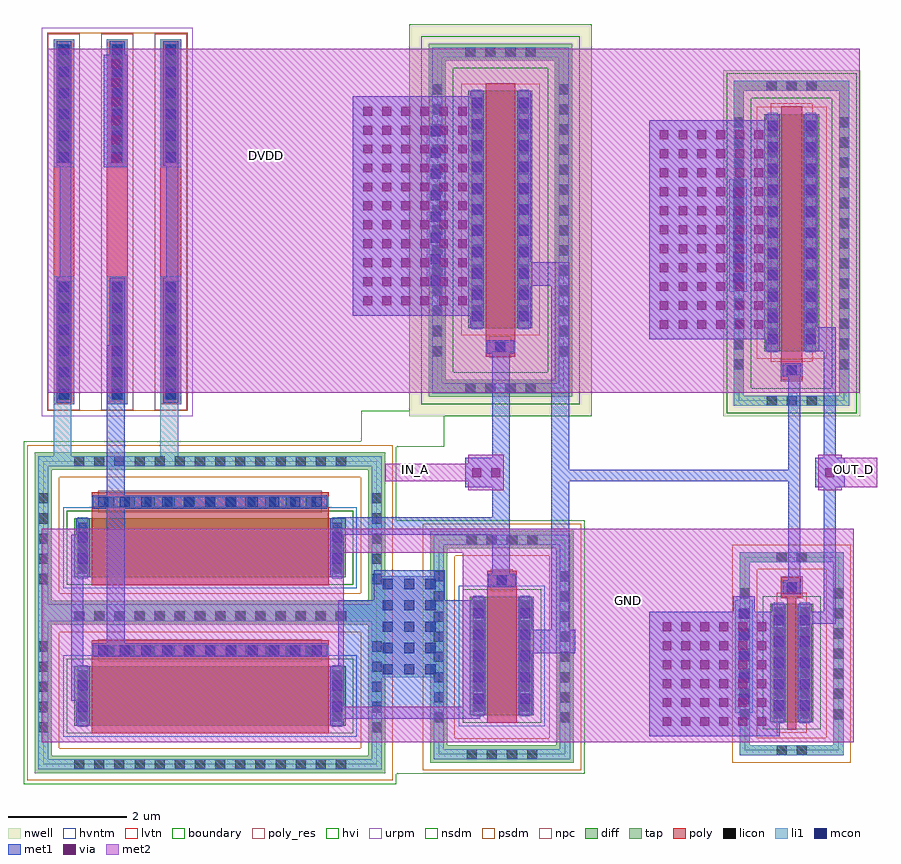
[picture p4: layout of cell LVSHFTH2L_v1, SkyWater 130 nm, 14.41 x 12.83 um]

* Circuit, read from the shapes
.subckt LVSHFTH2L_v1 DVDD GND IN_A OUT_D
XM1 GND n1 n2 GND sky130_fd_pr__nfet_g5v0d10v5 w=1 l=4
XM2 IN_A n1 n2 GND sky130_fd_pr__nfet_g5v0d10v5 w=1 l=4
XM3 n3 IN_A GND GND sky130_fd_pr__nfet_g5v0d10v5 w=2 l=0.5
XM4 OUT_D n3 GND GND sky130_fd_pr__nfet_01v8_lvt w=2 l=0.15
XM5 n3 IN_A DVDD DVDD sky130_fd_pr__pfet_g5v0d10v5 w=4 l=0.5
XM6 OUT_D n3 DVDD DVDD sky130_fd_pr__pfet_01v8_lvt w=4 l=0.35
XR7 GND GND GND sky130_fd_pr__res_xhigh_po w=0.35 l=1.88 m=2
XR8 DVDD n1 GND sky130_fd_pr__res_xhigh_po w=0.35 l=1.88
.ends

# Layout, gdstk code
import gdstk
lib = gdstk.Library(unit=1e-6, precision=1e-09)
def R(c, l, rs):  # rectangles x0, y0, x1, y1
    for r in rs: c.add(gdstk.rectangle(r[:2], r[2:], *l))
def A(c, l, x, y, w, h, nx, ny, dx, dy):  # array of equal rectangles
    R(c, l, [(x+i*dx, y+j*dy, x+i*dx+w, y+j*dy+h) for i in range(nx) for j in range(ny)])
nwell = (64, 20)
diff = (65, 20)
tap = (65, 44)
poly_res = (66, 13)
poly = (66, 20)
licon = (66, 44)
li1 = (67, 20)
mcon = (67, 44)
met1 = (68, 20)
via = (68, 44)
met2 = (69, 20)
hvi = (75, 20)
urpm = (79, 20)
nsdm = (93, 44)
psdm = (94, 20)
npc = (95, 20)
hvntm = (125, 20)
lvtn = (125, 44)
boundary = (235, 4)

sky130_fd_pr__res_xhigh_ = lib.new_cell('sky130_fd_pr__res_xhigh_po_0p35_Q2SH44')
R(sky130_fd_pr__res_xhigh_, poly_res, [(-0.175,-1,0.175,1)])
R(sky130_fd_pr__res_xhigh_, poly, [(-0.175,-3.08,0.175,3.08)])
R(sky130_fd_pr__res_xhigh_, licon, [(-0.095,-3,0.095,-1), (-0.095,1,0.095,3)])
R(sky130_fd_pr__res_xhigh_, li1, [(-0.175,-3.08,0.175,-0.92), (-0.175,0.92,0.175,3.08)])
A(sky130_fd_pr__res_xhigh_, mcon, -0.085, -2.985, 0.17, 0.17, 1, 6, 0, 0.36)
A(sky130_fd_pr__res_xhigh_, mcon, -0.085, 1.01, 0.17, 0.17, 1, 6, 0, 0.36)
R(sky130_fd_pr__res_xhigh_, met1, [(-0.125,-3.05,0.125,-0.945), (-0.125,0.945,0.125,3.05)])
R(sky130_fd_pr__res_xhigh_, urpm, [(-0.375,-3.28,0.375,3.28)])
R(sky130_fd_pr__res_xhigh_, psdm, [(-0.285,-3.19,0.285,3.19)])
R(sky130_fd_pr__res_xhigh_, npc, [(-0.27,-3.175,0.27,3.175)])

sky130_fd_pr__pfet_01v8_ = lib.new_cell('sky130_fd_pr__pfet_01v8_lvt_73FHB3')
R(sky130_fd_pr__pfet_01v8_, nwell, [(-1.155,-2.92,1.155,2.92)])
R(sky130_fd_pr__pfet_01v8_, diff, [(-0.465,-1.82,0.465,2.18)])
R(sky130_fd_pr__pfet_01v8_, tap, [(-0.975,-2.74,0.975,-2.57), (-0.975,-2.57,-0.805,2.57), (0.805,-2.57,0.975,2.57), (-0.975,2.57,0.975,2.74)])
R(sky130_fd_pr__pfet_01v8_, poly, [(-0.175,-2.305,0.175,2.31)])
A(sky130_fd_pr__pfet_01v8_, licon, -0.425, -2.74, 0.17, 0.17, 3, 2, 0.34, 5.31)
A(sky130_fd_pr__pfet_01v8_, licon, -0.975, -2.125, 0.17, 0.17, 1, 13, 0, 0.34)
A(sky130_fd_pr__pfet_01v8_, licon, 0.805, -2.125, 0.17, 0.17, 1, 13, 0, 0.34)
A(sky130_fd_pr__pfet_01v8_, licon, -0.405, -1.605, 0.17, 0.17, 1, 11, 0, 0.34)
A(sky130_fd_pr__pfet_01v8_, licon, 0.235, -1.605, 0.17, 0.17, 1, 11, 0, 0.34)
R(sky130_fd_pr__pfet_01v8_, licon, [(-0.085,-2.225,0.085,-2.055)])
R(sky130_fd_pr__pfet_01v8_, li1, [(-0.975,-2.74,0.975,-2.57), (-0.975,-2.57,-0.805,2.57), (0.805,-2.57,0.975,2.57), (-0.175,-2.225,0.175,-2.055), (-0.405,-1.84,-0.235,2.2), (0.235,-1.84,0.405,2.2), (-0.975,2.57,0.975,2.74)])
A(sky130_fd_pr__pfet_01v8_, mcon, -0.405, -1.705, 0.17, 0.17, 1, 11, 0, 0.36)
A(sky130_fd_pr__pfet_01v8_, mcon, 0.235, -1.705, 0.17, 0.17, 1, 11, 0, 0.36)
R(sky130_fd_pr__pfet_01v8_, mcon, [(-0.085,-2.225,0.085,-2.055)])
R(sky130_fd_pr__pfet_01v8_, met1, [(-0.155,-2.255,0.155,-2.025), (-0.435,-1.82,-0.205,2.18), (0.205,-1.82,0.435,2.18)])
R(sky130_fd_pr__pfet_01v8_, nsdm, [(-1.1,-2.865,1.1,-2.445), (-1.1,-2.445,-0.68,2.445), (0.68,-2.445,1.1,2.445), (-1.1,2.445,1.1,2.865)])
R(sky130_fd_pr__pfet_01v8_, psdm, [(-0.59,-1.945,0.59,2.305)])
R(sky130_fd_pr__pfet_01v8_, npc, [(-0.185,-2.325,0.185,-1.955)])
R(sky130_fd_pr__pfet_01v8_, lvtn, [(-0.355,-2,0.355,2.36)])
R(sky130_fd_pr__pfet_01v8_, boundary, [(-0.89,-2.655,0.89,2.655)])

sky130_fd_pr__pfet_g5v0d = lib.new_cell('sky130_fd_pr__pfet_g5v0d10v5_U678Y6')
R(sky130_fd_pr__pfet_g5v0d, nwell, [(-1.54,-3.31,1.54,3.31)])
R(sky130_fd_pr__pfet_g5v0d, diff, [(-0.54,-1.82,0.54,2.18)])
R(sky130_fd_pr__pfet_g5v0d, tap, [(-1.21,-2.98,1.21,-2.69), (-1.21,-2.69,-0.92,2.69), (0.92,-2.69,1.21,2.69), (-1.21,2.69,1.21,2.98)])
R(sky130_fd_pr__pfet_g5v0d, poly, [(-0.25,-2.305,0.25,2.31)])
A(sky130_fd_pr__pfet_g5v0d, licon, -0.595, -2.92, 0.17, 0.17, 4, 2, 0.34, 5.67)
A(sky130_fd_pr__pfet_g5v0d, licon, -1.15, -2.295, 0.17, 0.17, 1, 14, 0, 0.34)
A(sky130_fd_pr__pfet_g5v0d, licon, 0.98, -2.295, 0.17, 0.17, 1, 14, 0, 0.34)
A(sky130_fd_pr__pfet_g5v0d, licon, -0.48, -1.605, 0.17, 0.17, 1, 11, 0, 0.34)
A(sky130_fd_pr__pfet_g5v0d, licon, 0.31, -1.605, 0.17, 0.17, 1, 11, 0, 0.34)
R(sky130_fd_pr__pfet_g5v0d, licon, [(-0.085,-2.225,0.085,-2.055)])
R(sky130_fd_pr__pfet_g5v0d, li1, [(-1.15,-2.92,1.15,-2.75), (-1.15,-2.75,-0.98,2.75), (0.98,-2.75,1.15,2.75), (-0.25,-2.225,0.25,-2.055), (-0.48,-1.84,-0.31,2.2), (0.31,-1.84,0.48,2.2), (-1.15,2.75,1.15,2.92)])
A(sky130_fd_pr__pfet_g5v0d, mcon, -0.48, -1.705, 0.17, 0.17, 1, 11, 0, 0.36)
A(sky130_fd_pr__pfet_g5v0d, mcon, 0.31, -1.705, 0.17, 0.17, 1, 11, 0, 0.36)
R(sky130_fd_pr__pfet_g5v0d, mcon, [(-0.085,-2.225,0.085,-2.055)])
R(sky130_fd_pr__pfet_g5v0d, met1, [(-0.23,-2.255,0.23,-2.025), (-0.51,-1.82,-0.28,2.18), (0.28,-1.82,0.51,2.18)])
R(sky130_fd_pr__pfet_g5v0d, hvi, [(-1.54,-3.31,1.54,3.31)])
R(sky130_fd_pr__pfet_g5v0d, nsdm, [(-1.335,-3.105,1.335,-2.565), (-1.335,-2.565,-0.795,2.565), (0.795,-2.565,1.335,2.565), (-1.335,2.565,1.335,3.105)])
R(sky130_fd_pr__pfet_g5v0d, psdm, [(-0.665,-1.945,0.665,2.305)])
R(sky130_fd_pr__pfet_g5v0d, npc, [(-0.185,-2.325,0.185,-1.955)])
R(sky130_fd_pr__pfet_g5v0d, boundary, [(-1.065,-2.835,1.065,2.835)])

sky130_fd_pr__nfet_g5v0d = lib.new_cell('sky130_fd_pr__nfet_g5v0d10v5_698YSN')
R(sky130_fd_pr__nfet_g5v0d, diff, [(-2.29,-0.655,2.29,0.345)])
R(sky130_fd_pr__nfet_g5v0d, tap, [(-2.96,-1.455,2.96,-1.165), (-2.96,-1.165,-2.67,1.165), (2.67,-1.165,2.96,1.165), (-2.96,1.165,2.96,1.455)])
R(sky130_fd_pr__nfet_g5v0d, poly, [(-2,-0.785,2,0.785)])
A(sky130_fd_pr__nfet_g5v0d, licon, -2.295, -1.395, 0.17, 0.17, 14, 2, 0.34, 2.62)
A(sky130_fd_pr__nfet_g5v0d, licon, -2.9, -0.765, 0.17, 0.17, 1, 5, 0, 0.34)
A(sky130_fd_pr__nfet_g5v0d, licon, 2.73, -0.765, 0.17, 0.17, 1, 5, 0, 0.34)
A(sky130_fd_pr__nfet_g5v0d, licon, -2.23, -0.58, 0.17, 0.17, 1, 3, 0, 0.34)
A(sky130_fd_pr__nfet_g5v0d, licon, 2.06, -0.58, 0.17, 0.17, 1, 3, 0, 0.34)
A(sky130_fd_pr__nfet_g5v0d, licon, -1.785, 0.535, 0.17, 0.17, 11, 1, 0.34, 0)
R(sky130_fd_pr__nfet_g5v0d, li1, [(-2.9,-1.395,2.9,-1.225), (-2.9,-1.225,-2.73,1.225), (2.73,-1.225,2.9,1.225), (-2.23,-0.675,-2.06,0.365), (2.06,-0.675,2.23,0.365), (-2,0.535,2,0.705), (-2.9,1.225,2.9,1.395)])
A(sky130_fd_pr__nfet_g5v0d, mcon, -1.885, 0.535, 0.17, 0.17, 11, 1, 0.36, 0)
R(sky130_fd_pr__nfet_g5v0d, mcon, [(-2.23,-0.42,-2.06,-0.25), (2.06,-0.42,2.23,-0.25), (-2.23,-0.06,-2.06,0.11), (2.06,-0.06,2.23,0.11)])
R(sky130_fd_pr__nfet_g5v0d, met1, [(-2.26,-0.655,-2.03,0.345), (2.03,-0.655,2.26,0.345), (-1.98,0.505,1.98,0.735)])
R(sky130_fd_pr__nfet_g5v0d, hvi, [(-3.145,-1.64,3.145,1.64)])
R(sky130_fd_pr__nfet_g5v0d, nsdm, [(-2.415,-0.78,2.415,0.47)])
R(sky130_fd_pr__nfet_g5v0d, psdm, [(-3.085,-1.58,3.085,-1.04), (-3.085,-1.04,-2.545,1.04), (2.545,-1.04,3.085,1.04), (-3.085,1.04,3.085,1.58)])
R(sky130_fd_pr__nfet_g5v0d, npc, [(-1.885,0.435,1.885,0.805)])
R(sky130_fd_pr__nfet_g5v0d, hvntm, [(-2.475,-0.84,2.475,0.53)])
R(sky130_fd_pr__nfet_g5v0d, boundary, [(-2.815,-1.31,2.815,1.31)])

sky130_fd_pr__nfet_01v8_ = lib.new_cell('sky130_fd_pr__nfet_01v8_lvt_ATMSL9')
R(sky130_fd_pr__nfet_01v8_, diff, [(-0.365,-1.155,0.365,0.845)])
R(sky130_fd_pr__nfet_01v8_, tap, [(-0.875,-1.715,0.875,-1.545), (-0.875,-1.545,-0.705,1.545), (0.705,-1.545,0.875,1.545), (-0.875,1.545,0.875,1.715)])
R(sky130_fd_pr__nfet_01v8_, poly, [(-0.075,-1.285,0.075,0.955), (-0.165,0.955,0.165,1.285)])
A(sky130_fd_pr__nfet_01v8_, licon, -0.875, -1.105, 0.17, 0.17, 1, 7, 0, 0.34)
A(sky130_fd_pr__nfet_01v8_, licon, 0.705, -1.105, 0.17, 0.17, 1, 7, 0, 0.34)
A(sky130_fd_pr__nfet_01v8_, licon, -0.305, -1.09, 0.17, 0.17, 1, 6, 0, 0.34)
A(sky130_fd_pr__nfet_01v8_, licon, 0.135, -1.09, 0.17, 0.17, 1, 6, 0, 0.34)
R(sky130_fd_pr__nfet_01v8_, licon, [(-0.255,-1.715,-0.085,-1.545), (0.085,-1.715,0.255,-1.545), (-0.085,1.035,0.085,1.205), (-0.255,1.545,-0.085,1.715), (0.085,1.545,0.255,1.715)])
R(sky130_fd_pr__nfet_01v8_, li1, [(-0.875,-1.715,0.875,-1.545), (-0.875,-1.545,-0.705,1.545), (0.705,-1.545,0.875,1.545), (-0.305,-1.175,-0.135,0.865), (0.135,-1.175,0.305,0.865), (-0.165,1.035,0.165,1.205), (-0.875,1.545,0.875,1.715)])
A(sky130_fd_pr__nfet_01v8_, mcon, -0.305, -0.96, 0.17, 0.17, 1, 5, 0, 0.36)
A(sky130_fd_pr__nfet_01v8_, mcon, 0.135, -0.96, 0.17, 0.17, 1, 5, 0, 0.36)
R(sky130_fd_pr__nfet_01v8_, mcon, [(-0.085,1.035,0.085,1.205)])
R(sky130_fd_pr__nfet_01v8_, met1, [(-0.335,-1.155,-0.105,0.845), (0.105,-1.155,0.335,0.845), (-0.145,1.005,0.145,1.235)])
R(sky130_fd_pr__nfet_01v8_, nsdm, [(-0.49,-1.28,0.49,0.97)])
R(sky130_fd_pr__nfet_01v8_, psdm, [(-1,-1.84,1,-1.42), (-1,-1.42,-0.58,1.42), (0.58,-1.42,1,1.42), (-1,1.42,1,1.84)])
R(sky130_fd_pr__nfet_01v8_, npc, [(-0.185,0.935,0.185,1.305)])
R(sky130_fd_pr__nfet_01v8_, lvtn, [(-0.255,-1.335,0.255,1.025)])
R(sky130_fd_pr__nfet_01v8_, boundary, [(-0.79,-1.63,0.79,1.63)])

c_sky130_fd_pr__nfet_g5v0d = lib.new_cell('sky130_fd_pr__nfet_g5v0d10v5_GRR4C7')
R(c_sky130_fd_pr__nfet_g5v0d, diff, [(-0.54,-1.155,0.54,0.845)])
R(c_sky130_fd_pr__nfet_g5v0d, tap, [(-1.21,-1.955,1.21,-1.665), (-1.21,-1.665,-0.92,1.665), (0.92,-1.665,1.21,1.665), (-1.21,1.665,1.21,1.955)])
R(c_sky130_fd_pr__nfet_g5v0d, poly, [(-0.25,-1.285,0.25,1.285)])
A(c_sky130_fd_pr__nfet_g5v0d, licon, -0.595, -1.895, 0.17, 0.17, 4, 2, 0.34, 3.62)
A(c_sky130_fd_pr__nfet_g5v0d, licon, -1.15, -1.275, 0.17, 0.17, 1, 8, 0, 0.34)
A(c_sky130_fd_pr__nfet_g5v0d, licon, 0.98, -1.275, 0.17, 0.17, 1, 8, 0, 0.34)
A(c_sky130_fd_pr__nfet_g5v0d, licon, -0.48, -1.09, 0.17, 0.17, 1, 6, 0, 0.34)
A(c_sky130_fd_pr__nfet_g5v0d, licon, 0.31, -1.09, 0.17, 0.17, 1, 6, 0, 0.34)
R(c_sky130_fd_pr__nfet_g5v0d, licon, [(-0.085,1.035,0.085,1.205)])
R(c_sky130_fd_pr__nfet_g5v0d, li1, [(-1.15,-1.895,1.15,-1.725), (-1.15,-1.725,-0.98,1.725), (0.98,-1.725,1.15,1.725), (-0.48,-1.175,-0.31,0.865), (0.31,-1.175,0.48,0.865), (-0.25,1.035,0.25,1.205), (-1.15,1.725,1.15,1.895)])
A(c_sky130_fd_pr__nfet_g5v0d, mcon, -0.48, -0.96, 0.17, 0.17, 1, 5, 0, 0.36)
A(c_sky130_fd_pr__nfet_g5v0d, mcon, 0.31, -0.96, 0.17, 0.17, 1, 5, 0, 0.36)
R(c_sky130_fd_pr__nfet_g5v0d, mcon, [(-0.085,1.035,0.085,1.205)])
R(c_sky130_fd_pr__nfet_g5v0d, met1, [(-0.51,-1.155,-0.28,0.845), (0.28,-1.155,0.51,0.845), (-0.23,1.005,0.23,1.235)])
R(c_sky130_fd_pr__nfet_g5v0d, hvi, [(-1.395,-2.14,1.395,2.14)])
R(c_sky130_fd_pr__nfet_g5v0d, nsdm, [(-0.665,-1.28,0.665,0.97)])
R(c_sky130_fd_pr__nfet_g5v0d, psdm, [(-1.335,-2.08,1.335,-1.54), (-1.335,-1.54,-0.795,1.54), (0.795,-1.54,1.335,1.54), (-1.335,1.54,1.335,2.08)])
R(c_sky130_fd_pr__nfet_g5v0d, npc, [(-0.185,0.935,0.185,1.305)])
R(c_sky130_fd_pr__nfet_g5v0d, hvntm, [(-0.725,-1.34,0.725,1.03)])
R(c_sky130_fd_pr__nfet_g5v0d, boundary, [(-1.065,-1.81,1.065,1.81)])

c_sky130_fd_pr__nfet_g5v0d_ = lib.new_cell('sky130_fd_pr__nfet_g5v0d10v5_W48A62')
R(c_sky130_fd_pr__nfet_g5v0d_, diff, [(-2.29,-0.655,2.29,0.345)])
R(c_sky130_fd_pr__nfet_g5v0d_, tap, [(-2.96,-1.455,2.96,-1.165), (-2.96,-1.165,-2.67,1.165), (2.67,-1.165,2.96,1.165), (-2.96,1.165,2.96,1.455)])
R(c_sky130_fd_pr__nfet_g5v0d_, poly, [(-2,-0.785,2,0.785)])
A(c_sky130_fd_pr__nfet_g5v0d_, licon, -2.295, -1.395, 0.17, 0.17, 14, 1, 0.34, 0)
A(c_sky130_fd_pr__nfet_g5v0d_, licon, -2.9, -0.765, 0.17, 0.17, 1, 5, 0, 0.34)
A(c_sky130_fd_pr__nfet_g5v0d_, licon, 2.73, -0.765, 0.17, 0.17, 1, 5, 0, 0.34)
A(c_sky130_fd_pr__nfet_g5v0d_, licon, -2.23, -0.58, 0.17, 0.17, 1, 3, 0, 0.34)
A(c_sky130_fd_pr__nfet_g5v0d_, licon, 2.06, -0.58, 0.17, 0.17, 1, 3, 0, 0.34)
A(c_sky130_fd_pr__nfet_g5v0d_, licon, -1.785, 0.535, 0.17, 0.17, 11, 1, 0.34, 0)
R(c_sky130_fd_pr__nfet_g5v0d_, li1, [(-2.9,-1.395,2.9,-1.225), (-2.9,-1.225,-2.73,1.225), (2.73,-1.225,2.9,1.225), (-2.23,-0.675,-2.06,0.365), (2.06,-0.675,2.23,0.365), (-2,0.535,2,0.705), (-2.9,1.225,2.9,1.395)])
A(c_sky130_fd_pr__nfet_g5v0d_, mcon, -1.885, 0.535, 0.17, 0.17, 11, 1, 0.36, 0)
R(c_sky130_fd_pr__nfet_g5v0d_, mcon, [(-2.23,-0.42,-2.06,-0.25), (2.06,-0.42,2.23,-0.25), (-2.23,-0.06,-2.06,0.11), (2.06,-0.06,2.23,0.11)])
R(c_sky130_fd_pr__nfet_g5v0d_, met1, [(-2.26,-0.655,-2.03,0.345), (2.03,-0.655,2.26,0.345), (-1.98,0.505,1.98,0.735)])
R(c_sky130_fd_pr__nfet_g5v0d_, hvi, [(-3.145,-1.64,3.145,1.64)])
R(c_sky130_fd_pr__nfet_g5v0d_, nsdm, [(-2.415,-0.78,2.415,0.47)])
R(c_sky130_fd_pr__nfet_g5v0d_, psdm, [(-3.085,-1.58,3.085,-1.04), (-3.085,-1.04,-2.545,1.04), (2.545,-1.04,3.085,1.04), (-3.085,1.04,3.085,1.58)])
R(c_sky130_fd_pr__nfet_g5v0d_, npc, [(-1.885,0.435,1.885,0.805)])
R(c_sky130_fd_pr__nfet_g5v0d_, hvntm, [(-2.475,-0.84,2.475,0.53)])
R(c_sky130_fd_pr__nfet_g5v0d_, boundary, [(-2.815,-1.31,2.815,1.31)])

lvshfth2l_v1 = lib.new_cell('LVSHFTH2L_v1')
R(lvshfth2l_v1, li1, [(5,0.7,5.3,2.6), (-1,1.3,0,3), (-6.5,5,-6.2,6.3), (-4.7,5,-4.4,6.3), (4.9,7.8,5.2,9.7), (-0.2,7.9,0.1,10.6)])
A(lvshfth2l_v1, mcon, 5.065, 0.845, 0.17, 0.17, 1, 5, 0, 0.36)
A(lvshfth2l_v1, mcon, -0.945, 1.345, 0.17, 0.17, 3, 5, 0.36, 0.36)
A(lvshfth2l_v1, mcon, -0.135, 7.905, 0.17, 0.17, 1, 8, 0, 0.36)
A(lvshfth2l_v1, mcon, 4.965, 7.945, 0.17, 0.17, 1, 5, 0, 0.36)
R(lvshfth2l_v1, met1, [(3.55,0.3,5.75,2.4), (-1.7,0.6,0.7,2.6), (-6.2,0.9,-6,3.7), (-5.6,1.7,-5.3,6.9), (1.5,1.7,2.3,2.1), (1.9,2.1,2.2,4.6), (6.1,2.2,6.7,2.4), (4.97,2.4,5.33,2.66), (6.5,2.4,6.7,4.5), (-1.1,2.6,0.1,3.1), (5.9,2.8,6.1,4.6), (0.9,2.9,1.2,3.7), (-1.7,3.7,1.2,4), (0.9,4,1.2,4.5), (0.45,4.5,1.2,5), (6.35,4.5,6.85,5), (1.9,4.6,6.1,4.8), (1.9,4.8,2.2,7.9), (5.9,4.8,6.1,6.5), (0.9,5,1.2,6.9), (6.5,5,6.7,6.8), (6.3,6.8,6.7,7.2), (3.55,7,5.65,10.7), (-6.4,7.2,-6.2,10.3), (-4.6,7.4,-4.4,10.5), (-1.45,7.4,0.65,11.1), (1.4,7.9,2.2,8.3), (-5.65,9.9,-5.25,11.8)])
A(lvshfth2l_v1, via, 3.775, 0.475, 0.15, 0.15, 6, 6, 0.32, 0.32)
A(lvshfth2l_v1, via, 3.725, 7.175, 0.15, 0.15, 6, 11, 0.32, 0.32)
A(lvshfth2l_v1, via, -1.275, 7.575, 0.15, 0.15, 6, 11, 0.32, 0.32)
A(lvshfth2l_v1, via, -5.525, 9.975, 0.15, 0.15, 1, 6, 0, 0.32)
R(lvshfth2l_v1, via, [(0.565,4.675,0.715,4.825), (0.885,4.675,1.035,4.825), (6.525,4.675,6.675,4.825)])
R(lvshfth2l_v1, met2, [(-6.7,0.2,7,0.8), (-6.7,0.8,-1.6,3.4), (0.4,0.8,7,3.4), (-6.7,3.4,7,3.8), (0.5,4.45,1.1,4.6), (6.4,4.45,6.8,4.5), (6.4,4.5,7.4,5), (-0.9,4.6,1.1,4.9), (0.5,4.9,1.1,5.05), (6.4,5,6.8,5.05), (-6.6,6.1,7.1,11.9)])
R(lvshfth2l_v1, hvi, [(-0.715,-0.33,-0.33,3.95), (-0.715,5.185,0.095,5.275), (-1.31,5.275,0.095,5.7), (-1.31,5.7,-0.5,5.79)])
R(lvshfth2l_v1, urpm, [(-5.95,5.7,-5.8,12.26), (-5.05,5.7,-4.9,12.26)])
R(lvshfth2l_v1, psdm, [(-6.04,5.79,-5.71,12.17), (-5.14,5.79,-4.81,12.17)])
lvshfth2l_v1.add(gdstk.Reference(sky130_fd_pr__res_xhigh_, (-5.425,8.98)))
lvshfth2l_v1.add(gdstk.Reference(sky130_fd_pr__pfet_01v8_, (5.955,8.62)))
lvshfth2l_v1.add(gdstk.Reference(sky130_fd_pr__pfet_g5v0d, (1.04,9.01)))
lvshfth2l_v1.add(gdstk.Reference(sky130_fd_pr__nfet_g5v0d, (-3.86,3.635)))
lvshfth2l_v1.add(gdstk.Reference(sky130_fd_pr__nfet_01v8_, (5.955,1.695)))
lvshfth2l_v1.add(gdstk.Reference(c_sky130_fd_pr__nfet_g5v0d, (1.065,1.81)))
lvshfth2l_v1.add(gdstk.Reference(sky130_fd_pr__res_xhigh_, (-4.525,8.98)))
lvshfth2l_v1.add(gdstk.Reference(sky130_fd_pr__res_xhigh_, (-6.325,8.98)))
lvshfth2l_v1.add(gdstk.Reference(c_sky130_fd_pr__nfet_g5v0d_, (-3.86,1.135)))
lvshfth2l_v1.add(gdstk.Label('OUT_D', (7,4.8), layer=69, texttype=5))
lvshfth2l_v1.add(gdstk.Label('DVDD', (-2.9,10.1), layer=69, texttype=5))
lvshfth2l_v1.add(gdstk.Label('GND', (3.2,2.6), layer=69, texttype=5))
lvshfth2l_v1.add(gdstk.Label('IN_A', (-0.4,4.8), layer=69, texttype=5))

lib.write_gds('LVSHFTH2L_v1.gds')
